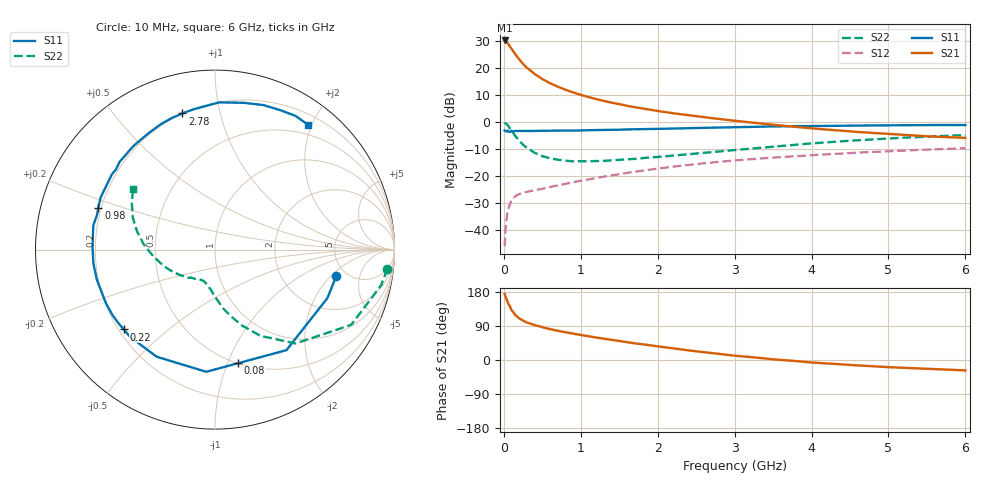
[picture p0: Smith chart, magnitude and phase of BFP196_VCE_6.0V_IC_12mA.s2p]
! Infineon Technologies  Discrete & RF Semiconductors
! BFP196
! VCE = 6.0 V,  IC =  12mA
! Common Emitter S-Parameters:  Jan 2016
# GHz  S  MA  R  50
!  f  S11  S21  S12  S22
! GHz  MAG  ANG  MAG  ANG  MAG  ANG  MAG  ANG
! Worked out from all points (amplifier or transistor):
!   210 points, 10 MHz to 6 GHz, reference 50 ohm
!   highest |S21| = 30.1 dB at 10 MHz (marker M1)
!   |S21| within 3 dB of that: start of sweep to 99.29 MHz
!   unconditionally stable (mu >= 1): 848.5 MHz to 3.4 GHz
!   at 185 MHz: K = 0.34, MSG = 25.3 dB, |S12| = -27.0 dB
!   at 1.52 GHz: K = 1.13, MAG = 10.6 dB, |S12| = -19.3 dB
!   at 6 GHz: K = 0.96, MSG = 1.9 dB, |S12| = -9.8 dB
!   S11 on the Smith chart (normalised r, x): 10 MHz: 4.13, -2.31; 80 MHz: 0.50, -1.09; 220 MHz: 0.22, -0.36; 980 MHz: 0.19, +0.17; 2.78 GHz: 0.20, +0.77; 6 GHz: 0.35, +1.94
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0.01  0.6916 -12.2  31.84 174.5  0.005 86.8  0.967 -6.4
0.02  0.682 -23.4  30.94 167.5  0.0097 81.1  0.9463 -12.2
0.05  0.6873 -54.6  28.36 151.6  0.0225 65.7  0.8669 -28.9
0.08  0.6458 -78.4  24.45 140.7  0.0303 55.0  0.7481 -40.1
0.1  0.6825 -94.1  22.48 131.5  0.0358 50.6  0.6889 -49.4
0.15  0.6797 -118.6  17.5 118.2  0.0424 41.9  0.5425 -62.3
0.2  0.6784 -134.2  14.14 109.7  0.046 37.8  0.4444 -70.9
0.22  0.6754 -138.8  13.13 107.4  0.0471 37.0  0.4158 -73.2
0.26  0.6776 -147.3  11.31 102.5  0.0492 35.8  0.3652 -78.2
0.3  0.6772 -153.7  9.946 98.8  0.0506 35.3  0.3292 -82.3
0.4  0.6794 -165.8  7.644 91.9  0.0543 35.7  0.2665 -89.5
0.5  0.6819 -173.5  6.141 86.4  0.0576 37.1  0.2312 -94.7
0.7  0.6854 173.3  4.456 76.9  0.0662 40.3  0.1985 -103.4
0.98  0.6907 160.2  3.199 66.8  0.0799 43.5  0.1853 -111.7
1.02  0.6938 158.5  3.077 65.4  0.0818 43.9  0.1854 -112.8
1.4  0.711 144.0  2.253 53.3  0.1014 45.6  0.1936 -122.3
2.02  0.7386 124.6  1.565 35.5  0.1372 43.8  0.2241 -138.0
2.78  0.7804 103.5  1.135 16.6  0.1804 37.6  0.2802 -156.9
3.1  0.7948 96.4  1.007 9.7  0.1974 34.0  0.308 -164.8
4.1  0.835 77.6  0.735 -7.8  0.245 23.4  0.4064 174.0
5.1  0.8594 63.7  0.585 -19.7  0.2889 12.4  0.4972 157.3
6  0.8674 53.3  0.503 -27.4  0.3244 2.0  0.5677 143.6
